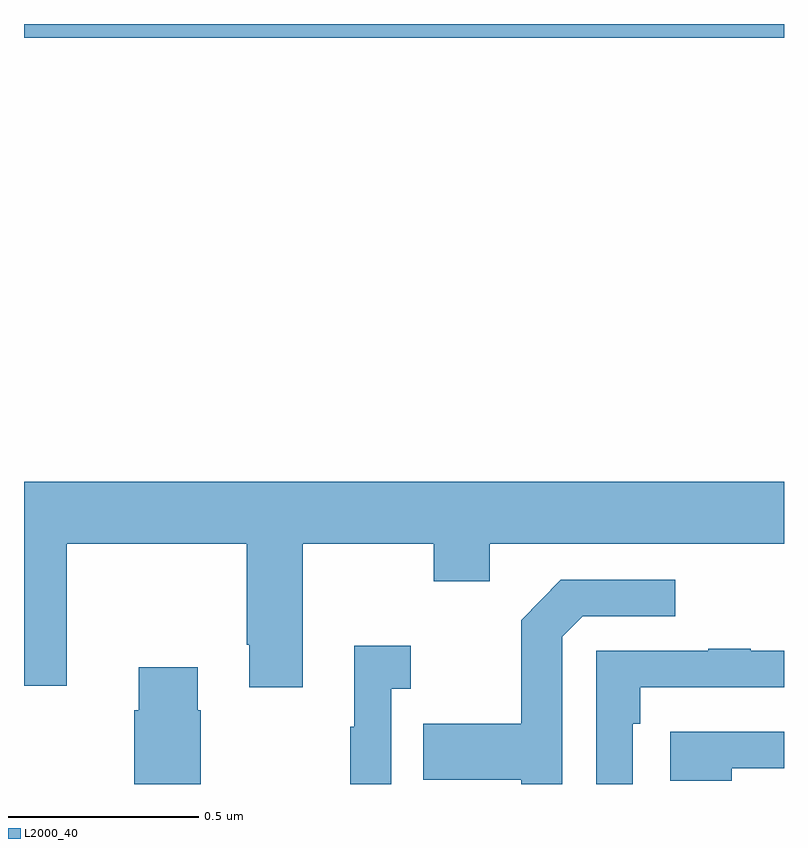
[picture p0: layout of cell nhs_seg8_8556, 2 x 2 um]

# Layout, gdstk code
import gdstk
lib = gdstk.Library(unit=1e-6, precision=1e-09)
def R(c, l, rs):  # rectangles x0, y0, x1, y1
    for r in rs: c.add(gdstk.rectangle(r[:2], r[2:], *l))
def P(c, l, *ps):  # polygons
    for p in ps: c.add(gdstk.Polygon(p, *l))
L2000_40 = (2000, 40)

nhs_seg8_8556 = lib.new_cell('nhs_seg8_8556')
R(nhs_seg8_8556, L2000_40, [(225,1085.864,227,1085.9)])
P(nhs_seg8_8556, L2000_40, [(225.733,1084.532),(226.078,1084.532),(226.078,1084.433),(226.225,1084.433),(226.225,1084.532),(227,1084.532),(227,1084.696),(225,1084.696),(225,1084.158),(225.112,1084.158),(225.112,1084.532),(225.586,1084.532),(225.586,1084.267),(225.593,1084.267),(225.593,1084.155),(225.733,1084.155)],
  [(226.416,1084.287),(226.47,1084.341),(226.714,1084.341),(226.714,1084.437),(226.413,1084.437),(226.308,1084.331),(226.308,1084.059),(226.051,1084.059),(226.051,1083.911),(226.308,1083.911),(226.308,1083.9),(226.416,1083.9)],
  [(225.966,1084.151),(226.018,1084.151),(226.018,1084.264),(225.869,1084.264),(225.869,1084.051),(225.858,1084.051),(225.858,1083.9),(225.966,1083.9)],
  [(226.602,1084.058),(226.622,1084.058),(226.622,1084.155),(227,1084.155),(227,1084.251),(226.913,1084.251),(226.913,1084.256),(226.801,1084.256),(226.801,1084.251),(226.506,1084.251),(226.506,1083.9),(226.602,1083.9)],
  [(225.465,1084.094),(225.457,1084.094),(225.457,1084.207),(225.302,1084.207),(225.302,1084.094),(225.29,1084.094),(225.29,1083.9),(225.465,1083.9)],
  [(226.862,1083.942),(227,1083.942),(227,1084.038),(226.701,1084.038),(226.701,1083.908),(226.862,1083.908)])

lib.write_gds('nhs_seg8_8556.gds')
